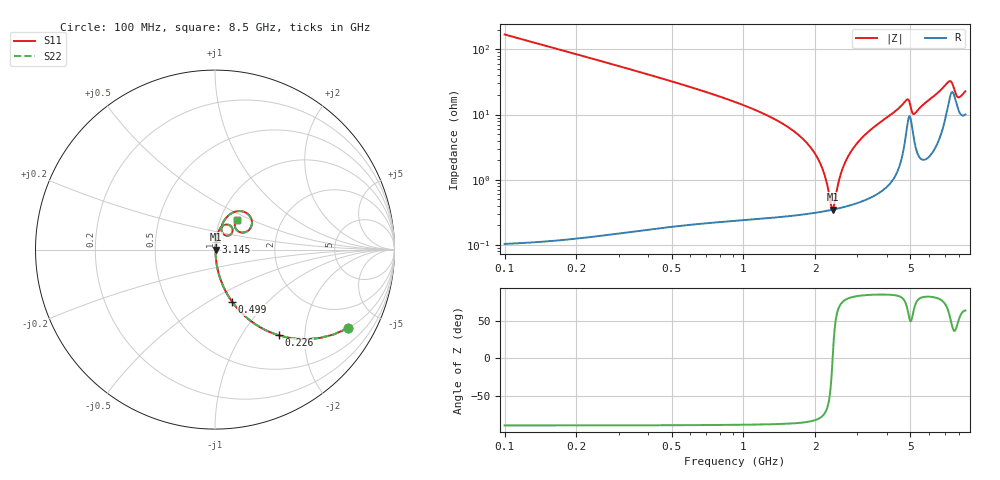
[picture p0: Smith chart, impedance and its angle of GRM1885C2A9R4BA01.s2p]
!Murata Part Number: GRM1885C2A9R4BA01
!These Parameters are Measured in Series Mode Connection
!Data Generated on Mar 30, 2021
!  o--ll--o
!Port1  Port2
!  o------o
!Operation Temp=25[degC], DC Bias Voltage=0[V]
!Freq. Start=100[MHz] Stop=9[GHz] 401[Steps]
# Hz S RI R 50
!Freq.(Hz) S11(Real) S11(Imag) S21(Real) S21(Imag) S12(Real) S12(Imag) S22(Real) S22(Imag)
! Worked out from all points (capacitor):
!   401 points, 100 MHz to 8.5 GHz, reference 50 ohm
!   read as one part in series: C = 9.4 pF near 142 MHz
!   lowest |Z| = 350 mohm at 2.368 GHz (marker M1)
!   series resonance near 2.363 GHz, so ESL is about 480 pH
!   S11 on the Smith chart (normalised r, x): 100 MHz: 1.00, -3.38; 226 MHz: 1.00, -1.48; 499 MHz: 1.00, -0.65; 3.145 GHz: 1.01, +0.09; 8.5 GHz: 1.20, +0.41
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1e8  0.7405 -0.438  0.2595 0.438  0.2595 0.438  0.7405 -0.438
2.26e8  0.3553 -0.4777  0.6447 0.4777  0.6447 0.4777  0.3553 -0.4777
3.31e8  0.2014 -0.3995  0.7986 0.3995  0.7986 0.3995  0.2014 -0.3995
4.99e8  0.0964 -0.2922  0.9036 0.2922  0.9036 0.2922  0.0964 -0.2922
8.98e8  0.0276 -0.1567  0.9724 0.1567  0.9724 0.1567  0.0276 -0.1567
1.507e9  0.0072 -0.0666  0.9928 0.0666  0.9928 0.0666  0.0072 -0.0666
1.822e9  0.00441 -0.038  0.9956 0.038  0.9956 0.038  0.00441 -0.038
2.032e9  0.00362 -0.022  0.9964 0.022  0.9964 0.022  0.00362 -0.022
2.179e9  0.00341 -0.0118  0.9966 0.0118  0.9966 0.0118  0.00341 -0.0118
2.326e9  0.00343 -0.00232  0.9966 0.00232  0.9966 0.00232  0.00343 -0.00232
2.368e9  0.00347 0.000305  0.9965 -0.000305  0.9965 -0.000305  0.00347 0.000305
2.599e9  0.00395 0.0141  0.996 -0.0141  0.996 -0.0141  0.00395 0.0141
2.914e9  0.00522 0.0316  0.9948 -0.0316  0.9948 -0.0316  0.00522 0.0316
3.145e9  0.00659 0.0438  0.9934 -0.0438  0.9934 -0.0438  0.00659 0.0438
4.3e9  0.0226 0.1066  0.9774 -0.1066  0.9774 -0.1066  0.0226 0.1066
4.825e9  0.076 0.138  0.924 -0.138  0.924 -0.138  0.076 0.138
5.161e9  0.0503 0.0831  0.9497 -0.0831  0.9497 -0.0831  0.0503 0.0831
5.707e9  0.039 0.1358  0.961 -0.1358  0.961 -0.1358  0.039 0.1358
7.114e9  0.155 0.2123  0.845 -0.2123  0.845 -0.2123  0.155 0.2123
7.408e9  0.2056 0.1563  0.7944 -0.1563  0.7944 -0.1563  0.2056 0.1563
7.891e9  0.1252 0.1048  0.8748 -0.1048  0.8748 -0.1048  0.1252 0.1048
8.5e9  0.1217 0.1631  0.8783 -0.1631  0.8783 -0.1631  0.1217 0.1631
